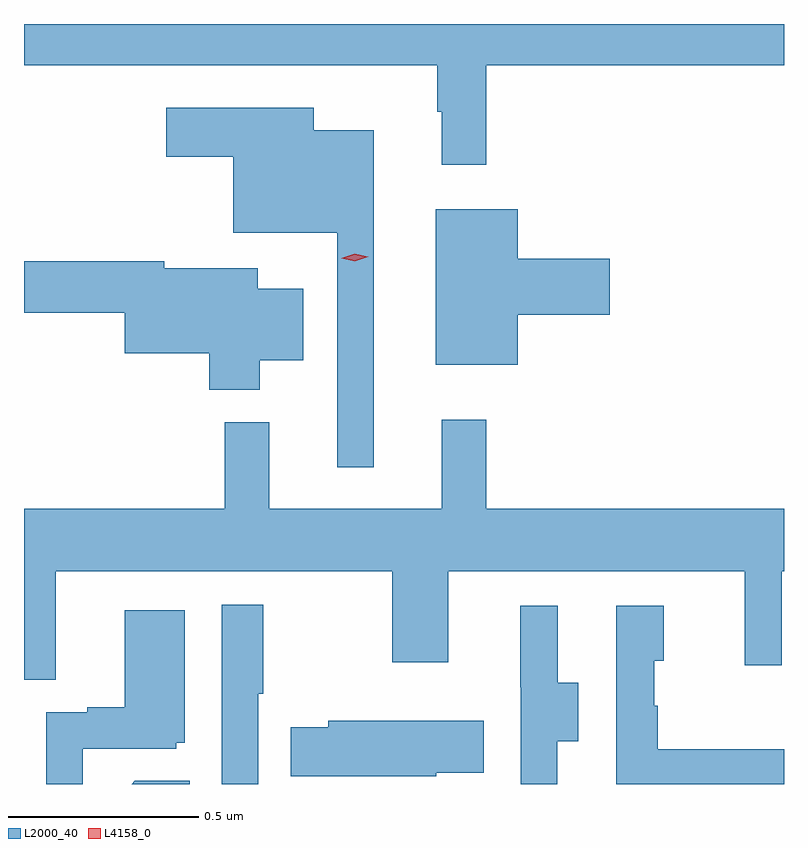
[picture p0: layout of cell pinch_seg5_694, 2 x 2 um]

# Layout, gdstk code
import gdstk
lib = gdstk.Library(unit=1e-6, precision=1e-09)
def P(c, l, *ps):  # polygons
    for p in ps: c.add(gdstk.Polygon(p, *l))
L2000_40 = (2000, 40)
L4158_0 = (4158, 0)

pinch_seg5_694 = lib.new_cell('pinch_seg5_694')
P(pinch_seg5_694, L2000_40, [(1130.441,852.764),(1131.225,852.764),(1131.225,852.872),(1129.225,852.872),(1129.225,852.764),(1130.313,852.764),(1130.313,852.641),(1130.324,852.641),(1130.324,852.501),(1130.441,852.501)],
  [(1130.146,852.592),(1129.987,852.592),(1129.987,852.652),(1129.599,852.652),(1129.599,852.523),(1129.775,852.523),(1129.775,852.323),(1130.049,852.323),(1130.049,851.706),(1130.146,851.706)],
  [(1130.524,852.107),(1130.767,852.107),(1130.767,852.254),(1130.524,852.254),(1130.524,852.385),(1130.309,852.385),(1130.309,851.975),(1130.524,851.975)],
  [(1129.846,851.987),(1129.96,851.987),(1129.96,852.175),(1129.84,852.175),(1129.84,852.229),(1129.594,852.229),(1129.594,852.248),(1129.225,852.248),(1129.225,852.112),(1129.49,852.112),(1129.49,852.005),(1129.712,852.005),(1129.712,851.909),(1129.846,851.909)],
  [(1129.309,851.432),(1130.194,851.432),(1130.194,851.193),(1130.341,851.193),(1130.341,851.432),(1131.122,851.432),(1131.122,851.184),(1131.219,851.184),(1131.219,851.432),(1131.225,851.432),(1131.225,851.596),(1130.441,851.596),(1130.441,851.83),(1130.324,851.83),(1130.324,851.596),(1129.871,851.596),(1129.871,851.824),(1129.753,851.824),(1129.753,851.596),(1129.225,851.596),(1129.225,851.146),(1129.309,851.146)],
  [(1129.842,851.11),(1129.855,851.11),(1129.855,851.344),(1129.746,851.344),(1129.746,850.872),(1129.842,850.872)],
  [(1130.628,850.984),(1130.683,850.984),(1130.683,851.139),(1130.629,851.139),(1130.629,851.341),(1130.531,851.341),(1130.531,851.127),(1130.532,851.127),(1130.532,850.872),(1130.628,850.872)],
  [(1131.225,850.963),(1130.893,850.963),(1130.893,851.078),(1130.883,851.078),(1130.883,851.196),(1130.908,851.196),(1130.908,851.341),(1130.784,851.341),(1130.784,850.872),(1131.225,850.872)],
  [(1129.379,850.965),(1129.626,850.965),(1129.626,850.98),(1129.648,850.98),(1129.648,851.329),(1129.49,851.329),(1129.49,851.074),(1129.391,851.074),(1129.391,851.061),(1129.284,851.061),(1129.284,850.872),(1129.379,850.872)],
  [(1130.31,850.901),(1130.435,850.901),(1130.435,851.038),(1130.025,851.038),(1130.025,851.022),(1129.927,851.022),(1129.927,850.892),(1130.31,850.892)],
  [(1129.661,850.88),(1129.517,850.88),(1129.509,850.872),(1129.661,850.872)])
P(pinch_seg5_694, L4158_0, [(1130.096,852.248),(1130.06,852.256),(1130.059,852.256),(1130.06,852.256),(1130.095,852.268),(1130.131,852.26),(1130.131,852.26),(1130.131,852.26)])

lib.write_gds('pinch_seg5_694.gds')
